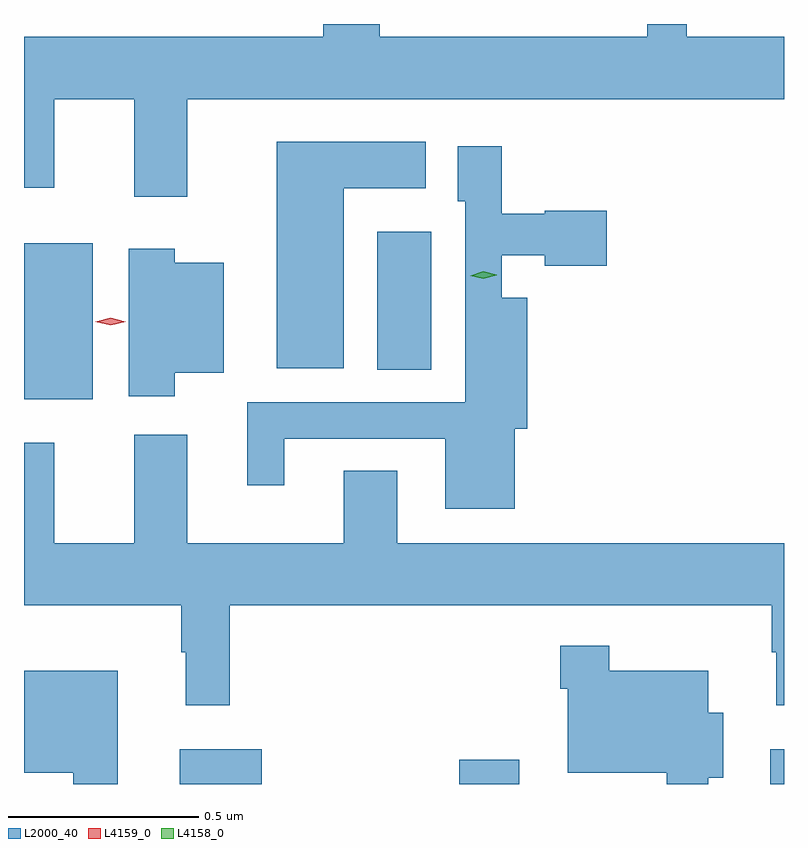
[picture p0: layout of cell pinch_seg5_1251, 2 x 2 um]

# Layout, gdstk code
import gdstk
lib = gdstk.Library(unit=1e-6, precision=1e-09)
def R(c, l, rs):  # rectangles x0, y0, x1, y1
    for r in rs: c.add(gdstk.rectangle(r[:2], r[2:], *l))
def P(c, l, *ps):  # polygons
    for p in ps: c.add(gdstk.Polygon(p, *l))
L2000_40 = (2000, 40)
L4158_0 = (4158, 0)
L4159_0 = (4159, 0)

pinch_seg5_1251 = lib.new_cell('pinch_seg5_1251')
R(pinch_seg5_1251, L2000_40, [(414.803,881.598,415.018,881.689), (415.538,881.598,415.696,881.662), (416.357,881.598,416.393,881.689), (414.393,882.611,414.574,883.021), (415.322,882.688,415.465,883.051)])
P(pinch_seg5_1251, L2000_40, [(414.823,883.4),(416.393,883.4),(416.393,883.564),(416.137,883.564),(416.137,883.598),(416.033,883.598),(416.033,883.564),(415.329,883.564),(415.329,883.598),(415.181,883.598),(415.181,883.564),(414.393,883.564),(414.393,883.167),(414.473,883.167),(414.473,883.4),(414.683,883.4),(414.683,883.143),(414.823,883.143)],
  [(415.234,883.166),(415.45,883.166),(415.45,883.288),(415.058,883.288),(415.058,882.692),(415.234,882.692)],
  [(415.684,882.533),(415.717,882.533),(415.717,882.877),(415.65,882.877),(415.65,882.99),(415.764,882.99),(415.764,882.962),(415.927,882.962),(415.927,883.107),(415.764,883.107),(415.764,883.099),(415.65,883.099),(415.65,883.276),(415.535,883.276),(415.535,883.131),(415.554,883.131),(415.554,882.603),(414.98,882.603),(414.98,882.384),(415.078,882.384),(415.078,882.507),(415.502,882.507),(415.502,882.323),(415.684,882.323)],
  [(414.79,882.68),(414.919,882.68),(414.919,882.97),(414.79,882.97),(414.79,883.006),(414.668,883.006),(414.668,882.618),(414.79,882.618)],
  [(414.935,882.068),(416.361,882.068),(416.361,881.945),(416.372,881.945),(416.372,881.805),(416.393,881.805),(416.393,882.232),(415.375,882.232),(415.375,882.422),(415.235,882.422),(415.235,882.232),(414.823,882.232),(414.823,882.517),(414.683,882.517),(414.683,882.232),(414.473,882.232),(414.473,882.496),(414.393,882.496),(414.393,882.068),(414.807,882.068),(414.807,881.945),(414.818,881.945),(414.818,881.805),(414.935,881.805)],
  [(416.194,881.615),(416.233,881.615),(416.233,881.785),(416.194,881.785),(416.194,881.896),(415.933,881.896),(415.933,881.962),(415.804,881.962),(415.804,881.849),(415.824,881.849),(415.824,881.627),(416.085,881.627),(416.085,881.598),(416.194,881.598)],
  [(414.64,881.896),(414.393,881.896),(414.393,881.627),(414.523,881.627),(414.523,881.598),(414.64,881.598)])
P(pinch_seg5_1251, L4158_0, [(415.602,882.927),(415.567,882.936),(415.566,882.936),(415.567,882.936),(415.602,882.947),(415.637,882.938),(415.637,882.938),(415.637,882.937)])
P(pinch_seg5_1251, L4159_0, [(414.621,882.805),(414.58,882.814),(414.58,882.814),(414.58,882.815),(414.621,882.825),(414.661,882.815),(414.661,882.815),(414.661,882.815)])

lib.write_gds('pinch_seg5_1251.gds')
